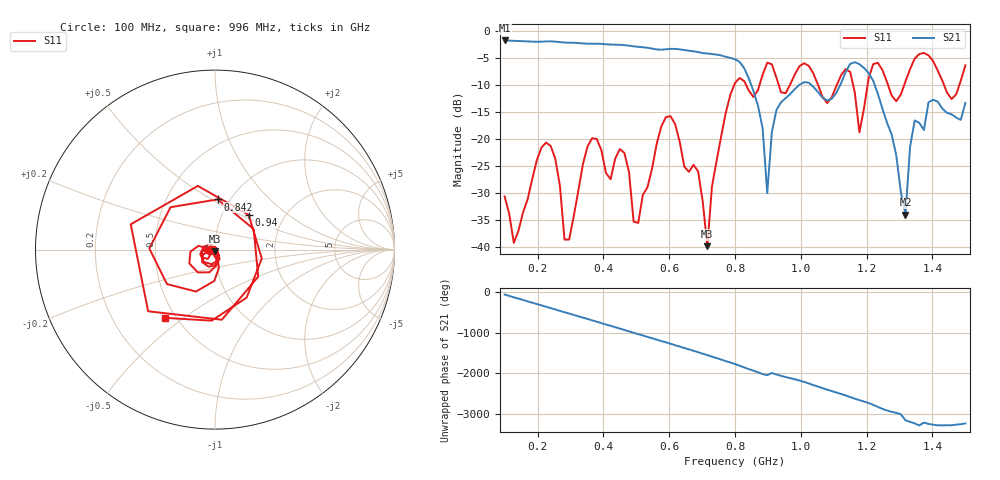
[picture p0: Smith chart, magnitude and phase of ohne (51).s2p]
! NanoVNA-App
! Date: 2025-09-26 09:55:47
! Start: 100MHz Stop: 1,5GHz Points: 101
! S-Parameter data: F S11 S21 S12 S22
# Hz S RI R 50
!  Frequency  S11_Real  S11_Imag  S21_Real  S21_Imag  S12_Real  S12_Imag  S22_Real  S22_Imag
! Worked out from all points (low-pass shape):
!   101 points, 100 MHz to 1.5 GHz, reference 50 ohm
!   highest |S21| = -1.79 dB at 100 MHz (marker M1); lowest = -34.0 dB at 1.318 GHz (marker M2)
!   |S21| within 3 dB of the highest: start of sweep to 771 MHz
!   lowest |S11| = -39.8 dB at 716 MHz (marker M3), VSWR 1.02, Z = 49.9 - j1.01 ohm
!   |S11| at or under -10 dB: start of sweep to 797.7 MHz; 833.5 MHz to 874.6 MHz (41.12 MHz wide, 4.81 % of centre); 1.052 GHz to 1.11 GHz (57.32 MHz wide, 5.3 % of centre) (the widest 3 of 7)
!   S12 and S22 are empty: the file has one direction only
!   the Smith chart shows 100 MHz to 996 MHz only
!   S11 on the Smith chart (normalised r, x): 100 MHz: 0.94, -0.01; 842 MHz: 0.88, +0.53; 940 MHz: 1.33, +0.56; 996 MHz: 0.44, -0.43
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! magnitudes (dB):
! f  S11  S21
! 100 MHz  -30.6  -1.8
! 128 MHz  -39.2  -1.9
! 226 MHz  -20.7  -2.0
! 296 MHz  -38.6  -2.2
! 338 MHz  -24.6  -2.3
! 464 MHz  -22.6  -2.6
! 506 MHz  -35.5  -3.0
! 576 MHz  -17.7  -3.5
! 688 MHz  -26.0  -3.9
! 716 MHz  -39.8  -4.2
! 800 MHz  -9.6  -5.3
! 842 MHz  -11.1  -8.8
! 898 MHz  -5.9  -30.0
! 940 MHz  -11.4  -13.2
! 996 MHz  -6.5  -10.0
! 1.038 GHz  -7.9  -10.4
! 1.178 GHz  -18.8  -6.2
! 1.22 GHz  -6.2  -9.3
! 1.276 GHz  -12.0  -19.2
! 1.318 GHz  -9.4  -34.0
! 1.346 GHz  -5.1  -16.6
! 1.5 GHz  -6.4  -13.3
